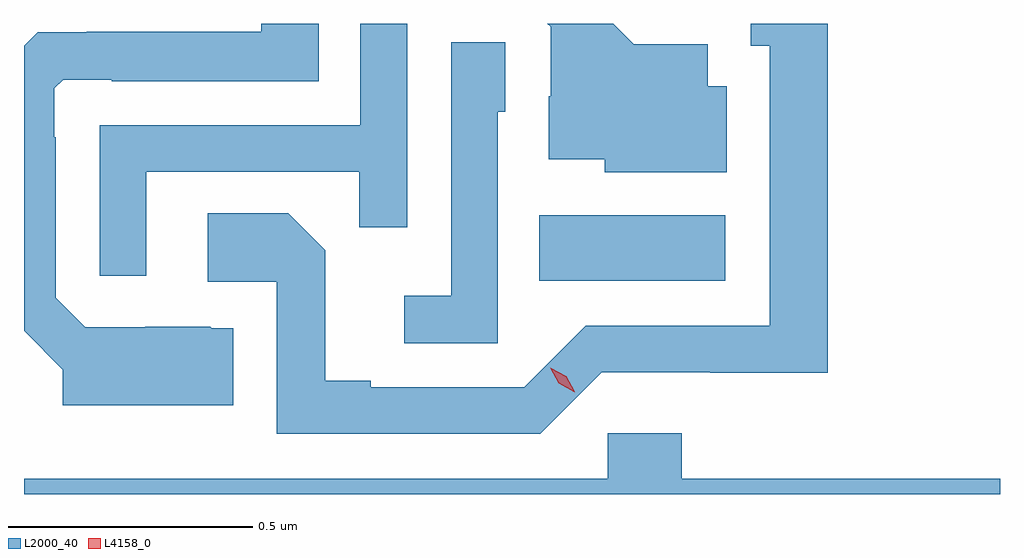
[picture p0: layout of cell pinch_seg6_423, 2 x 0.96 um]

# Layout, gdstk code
import gdstk
lib = gdstk.Library(unit=1e-6, precision=1e-09)
def R(c, l, rs):  # rectangles x0, y0, x1, y1
    for r in rs: c.add(gdstk.rectangle(r[:2], r[2:], *l))
def P(c, l, *ps):  # polygons
    for p in ps: c.add(gdstk.Polygon(p, *l))
L2000_40 = (2000, 40)
L4158_0 = (4158, 0)

pinch_seg6_423 = lib.new_cell('pinch_seg6_423')
R(pinch_seg6_423, L2000_40, [(658.402,915.938,658.783,916.072)])
P(pinch_seg6_423, L2000_40, [(657.597,916.161),(658.033,916.161),(658.033,916.048),(658.131,916.048),(658.131,916.465),(658.035,916.465),(658.035,916.257),(657.501,916.257),(657.501,915.948),(657.597,915.948)],
  [(658.786,916.336),(658.747,916.336),(658.747,916.423),(658.595,916.423),(658.553,916.465),(658.418,916.465),(658.425,916.458),(658.425,916.316),(658.421,916.316),(658.421,916.187),(658.536,916.187),(658.536,916.16),(658.786,916.16)],
  [(657.775,915.841),(657.731,915.841),(657.728,915.844),(657.594,915.844),(657.594,915.843),(657.471,915.843),(657.411,915.903),(657.411,916.232),(657.408,916.232),(657.408,916.332),(657.426,916.35),(657.526,916.35),(657.526,916.347),(657.95,916.347),(657.95,916.465),(657.832,916.465),(657.832,916.448),(657.475,916.448),(657.475,916.447),(657.374,916.447),(657.346,916.419),(657.346,915.835),(657.425,915.756),(657.425,915.683),(657.775,915.683)],
  [(658.53,915.75),(658.752,915.75),(658.752,915.749),(658.993,915.749),(658.993,916.465),(658.835,916.465),(658.835,916.419),(658.874,916.419),(658.874,915.846),(658.497,915.846),(658.371,915.72),(658.057,915.72),(658.057,915.733),(657.963,915.733),(657.963,916),(657.887,916.076),(657.723,916.076),(657.723,915.936),(657.864,915.936),(657.864,915.624),(658.404,915.624)],
  [(658.317,916.284),(658.332,916.284),(658.332,916.427),(658.221,916.427),(658.221,915.907),(658.125,915.907),(658.125,915.81),(658.317,915.81)],
  [(659.346,915.532),(658.694,915.532),(658.694,915.625),(658.542,915.625),(658.542,915.532),(657.346,915.532),(657.346,915.5),(659.346,915.5)])
P(pinch_seg6_423, L4158_0, [(658.475,915.709),(658.442,915.728),(658.424,915.76),(658.424,915.76),(658.424,915.76),(658.457,915.742),(658.475,915.71),(658.475,915.709)])

lib.write_gds('pinch_seg6_423.gds')
